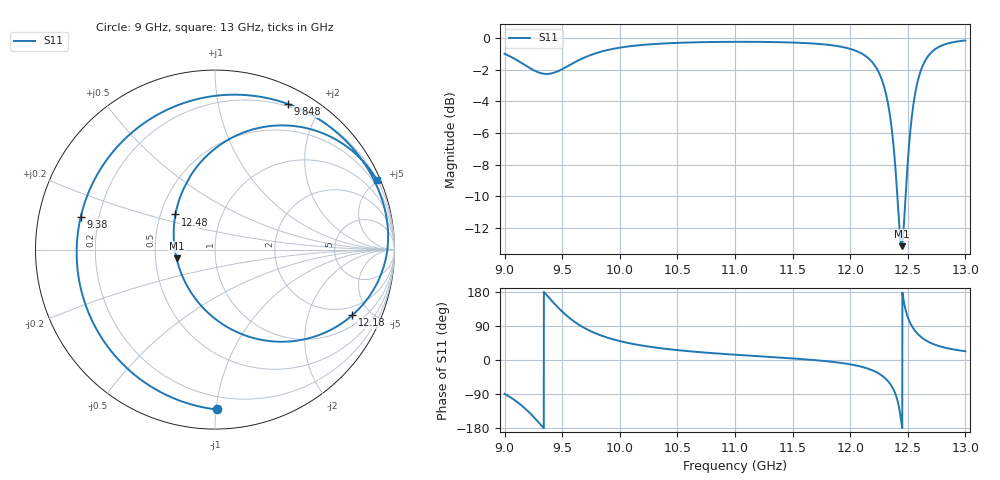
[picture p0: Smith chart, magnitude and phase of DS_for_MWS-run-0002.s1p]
! TOUCHSTONE file generated by CST DESIGN STUDIO
! Date and time: Tue Feb  4 17:37:48 2025
! Project name: C:\Work\MatlabApps\UnitCellOptimizationMatlab\CST\unitcell.cst
! Tree item: Tasks\Sweep1\SPara1\S-Parameters
! Header version: 2024
! Port assignment regex: !\s*Touchstone port\s*([0-9]+)\s*=\s*(CST MWS port|CST DES external port|CST DES block port)\s*(.+)\s* \(\"(.*)\"\)(\s*mode\s*([0-9]+))?.*
! Touchstone port assignment:
! Touchstone port 1 = CST DES external port 1 ("")
# GHz S MA R 50
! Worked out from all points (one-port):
!   4001 points, 9 GHz to 13 GHz, reference 50 ohm
!   lowest |S11| = -13.2 dB at 12.45 GHz (marker M1), VSWR 1.56, Z = 32.2 - j3.32 ohm
!   |S11| at or under -10 dB: 12.41 GHz to 12.48 GHz (71.51 MHz wide, 0.575 % of centre)
!   S11 on the Smith chart (normalised r, x): 9 GHz: 0.12, -1.00; 9.38 GHz: 0.13, +0.12; 9.848 GHz: 0.17, +1.60; 12.18 GHz: 1.49, -3.88; 12.48 GHz: 0.60, +0.26; 13 GHz: 0.23, +4.87
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9  0.8907 -89.4
9.096  0.8554 -107.8
9.181  0.8191 -128.9
9.288  0.7799 -162.0
9.38  0.77 166.1
9.5  0.7969 127.7
9.569  0.8226 109.5
9.644  0.8505 93.3
9.848  0.9071 63.5
10  0.9317 49.9
10.216  0.9518 37.0
10.5  0.9649 26.1
11  0.9723 13.9
11.5  0.9672 4.1
12  0.9235 -11.4
12.179  0.848 -25.5
12.271  0.7443 -40.1
12.349  0.5566 -63.9
12.397  0.3688 -93.2
12.446  0.2199 -167.1
12.476  0.2951 138.3
12.5  0.405 112.6
12.538  0.5758 88.3
12.578  0.7085 71.7
12.637  0.8285 55.8
12.7  0.8968 44.9
12.821  0.9542 32.6
13  0.9818 23.2
